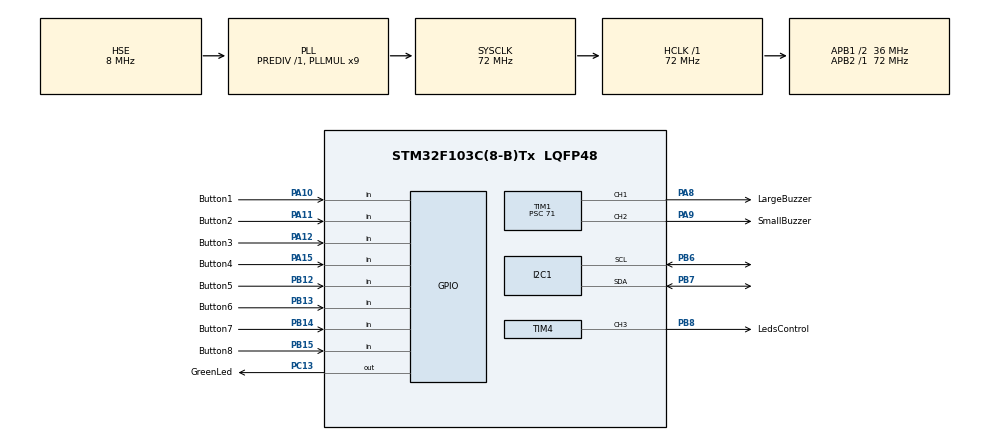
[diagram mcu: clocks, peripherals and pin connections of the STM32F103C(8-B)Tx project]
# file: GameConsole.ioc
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Dma.Request0=TIM4_CH3
Dma.TIM4_CH3.0.Direction=DMA_MEMORY_TO_PERIPH
Dma.TIM4_CH3.0.Instance=DMA1_Channel5
Dma.TIM4_CH3.0.MemDataAlignment=DMA_MDATAALIGN_HALFWORD
Dma.TIM4_CH3.0.MemInc=DMA_MINC_ENABLE
Dma.TIM4_CH3.0.Mode=DMA_NORMAL
Dma.TIM4_CH3.0.PeriphDataAlignment=DMA_PDATAALIGN_HALFWORD
Dma.TIM4_CH3.0.PeriphInc=DMA_PINC_DISABLE
Dma.TIM4_CH3.0.Priority=DMA_PRIORITY_LOW
Mcu.Family=STM32F1
Mcu.Name=STM32F103C(8-B)Tx
Mcu.Package=LQFP48
NVIC.DMA1_Channel5_IRQn=true\:0\:0\:false\:false\:true\:false\:true\:true
NVIC.PriorityGroup=NVIC_PRIORITYGROUP_4
NVIC.TIM2_IRQn=true\:0\:0\:false\:false\:true\:true\:true\:true
NVIC.TIM3_IRQn=true\:15\:0\:false\:false\:true\:false\:true\:true
NVIC.TIM4_IRQn=true\:0\:0\:false\:false\:true\:true\:true\:true
NVIC.TimeBase=TIM3_IRQn
NVIC.TimeBaseIP=TIM3
PA10.GPIO_Label=Button1
PA10.GPIO_PuPd=GPIO_PULLUP
PA10.Signal=GPIO_Input
PA11.GPIO_Label=Button2
PA11.GPIO_PuPd=GPIO_PULLUP
PA11.Signal=GPIO_Input
PA12.GPIO_Label=Button3
PA12.GPIO_PuPd=GPIO_PULLUP
PA12.Signal=GPIO_Input
PA13.Mode=Serial_Wire
PA13.Signal=SYS_JTMS-SWDIO
PA14.Mode=Serial_Wire
PA14.Signal=SYS_JTCK-SWCLK
PA15.GPIO_Label=Button4
PA15.GPIO_PuPd=GPIO_PULLUP
PA15.Signal=GPIO_Input
PA8.GPIO_Label=LargeBuzzer
PA8.GPIO_Speed=GPIO_SPEED_FREQ_HIGH
PA8.Signal=S_TIM1_CH1
PA9.GPIO_Label=SmallBuzzer
PA9.GPIO_Speed=GPIO_SPEED_FREQ_HIGH
PA9.Signal=S_TIM1_CH2
PB12.GPIO_Label=Button5
PB12.GPIO_PuPd=GPIO_PULLUP
PB12.Signal=GPIO_Input
PB13.GPIO_Label=Button6
PB13.GPIO_PuPd=GPIO_PULLUP
PB13.Signal=GPIO_Input
PB14.GPIO_Label=Button7
PB14.GPIO_PuPd=GPIO_PULLUP
PB14.Signal=GPIO_Input
PB15.GPIO_Label=Button8
PB15.GPIO_PuPd=GPIO_PULLUP
PB15.Signal=GPIO_Input
PB6.Mode=I2C
PB6.Signal=I2C1_SCL
PB7.Mode=I2C
PB7.Signal=I2C1_SDA
PB8.GPIO_Label=LedsControl
PB8.GPIO_Speed=GPIO_SPEED_FREQ_HIGH
PB8.Signal=S_TIM4_CH3
PC13-TAMPER-RTC.GPIO_Label=GreenLed
PC13-TAMPER-RTC.GPIO_Speed=GPIO_SPEED_FREQ_HIGH
PC13-TAMPER-RTC.Signal=GPIO_Output
PD0-OSC_IN.Mode=HSE-External-Oscillator
PD0-OSC_IN.Signal=RCC_OSC_IN
PD1-OSC_OUT.Mode=HSE-External-Oscillator
PD1-OSC_OUT.Signal=RCC_OSC_OUT
ProjectManager.HeapSize=0x200
ProjectManager.StackSize=0x400
ProjectManager.TargetToolchain=STM32CubeIDE
RCC.AHBFreq_Value=72000000
RCC.APB1CLKDivider=RCC_HCLK_DIV2
RCC.APB1Freq_Value=36000000
RCC.APB1TimFreq_Value=72000000
RCC.APB2Freq_Value=72000000
RCC.APB2TimFreq_Value=72000000
RCC.HCLKFreq_Value=72000000
RCC.PLLMUL=RCC_PLL_MUL9
RCC.PLLSourceVirtual=RCC_PLLSOURCE_HSE
RCC.SYSCLKFreq_VALUE=72000000
RCC.SYSCLKSource=RCC_SYSCLKSOURCE_PLLCLK
RCC.USBFreq_Value=72000000
SH.S_TIM1_CH1.0=TIM1_CH1,PWM Generation1 CH1
SH.S_TIM1_CH2.0=TIM1_CH2,PWM Generation2 CH2
SH.S_TIM4_CH3.0=TIM4_CH3,PWM Generation3 CH3
TIM1.AutoReloadPreload=TIM_AUTORELOAD_PRELOAD_ENABLE
TIM1.Channel-PWM\ Generation1\ CH1=TIM_CHANNEL_1
TIM1.Channel-PWM\ Generation2\ CH2=TIM_CHANNEL_2
TIM1.Prescaler=71
TIM2.Period=99
TIM2.Prescaler=71
TIM4.Channel-PWM\ Generation3\ CH3=TIM_CHANNEL_3
TIM4.Period=89
VP_SYS_VS_tim3.Mode=TIM3
VP_TIM1_VS_ClockSourceINT.Mode=Internal
VP_TIM2_VS_ClockSourceINT.Mode=Internal
VP_TIM4_VS_ClockSourceINT.Mode=Internal
board=custom

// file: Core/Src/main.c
/* USER CODE BEGIN Header */
/**
  ******************************************************************************
  * @file           : main.c
  * @brief          : Main program body
  ******************************************************************************
  * @attention
  *
  * Copyright (c) 2026 STMicroelectronics.
  * All rights reserved.
  *
  * This software is licensed under terms that can be found in the LICENSE file
  * in the root directory of this software component.
  * If no LICENSE file comes with this software, it is provided AS-IS.
  *
  ******************************************************************************
  */
/* USER CODE END Header */
#include "main.h"
#include "dma.h"
#include "i2c.h"
#include "tim.h"
#include "gpio.h"

/* USER CODE BEGIN Includes */
#include "FreeRTOS.h"
#include "task.h"

#include "ButtonsDriver.h"
#include "BuzzersDriver.h"
#include "CommonFreeRTOS.h"
#include "Hardware.h"
#include "InterruptsPriorities.h"
#include "Lcd1602Driver.h"
#include "LedsDriver.h"
#include "LedsEffects.h"
#include "SyncPeriphery.h"
#include "UserTimer.h"
/* USER CODE END Includes */

void SystemClock_Config(void);

int main(void)
{

  /* MCU Configuration--------------------------------------------------------*/

  /* Reset of all peripherals, Initializes the Flash interface and the Systick. */
  HAL_Init();

  /* Configure the system clock */
  SystemClock_Config();

  /* Initialize all configured peripherals */
  MX_GPIO_Init();
  MX_DMA_Init();
  MX_TIM2_Init();
  MX_TIM4_Init();
  MX_TIM1_Init();
  MX_I2C1_Init();
  /* USER CODE BEGIN 2 */

  // Установка приоритетов прерываний
  // для корректной работы FreeRTOS
  InterruptsPriorities_SetPriorities();

  // Запуск таймера для отсчета временных интервалов
  HAL_TIM_Base_Start_IT(&TIM_INTERVAL_HTIM);

  // Инициализизация драйвера светодиодов WS2812B
  LedsDriver_Init();

  // Инициализация модуля световых эффектов
  LedsEffects_Init();

  // Инициализация драйвера зуммеров
  BuzzersDriver_Init();

  // Инициализация драйвера кнопок
  ButtonsDriver_Init();

  // Инициализация модуля синхронных откликов
  SyncPeriphery_Init();

  // Инициализация драйвера LCD1602
  if (Lcd1602Driver_Init() != LCD1602_OK)
  {
      while (1)
      {
          // Критическая ошибка. Не удалось инициализировать LCD1602
      }
  }

  // Статус создания задач FreeRTOS
  BaseType_t taskCreationResult = CommonFreeRTOS_CreateTasks();

  // Если любая задача FreeRTOS не создана
  if (pdFALSE == taskCreationResult)
  {
	  while (1)
	  {
		  // Критическая ошибка. Ошибка создания задач FreeRTOS
	  }
  }

  // Запуск планировщика задач
  vTaskStartScheduler();

  /* USER CODE END 2 */

  /* Infinite loop */
  while (1)
  {

  }
}

void SystemClock_Config(void)
{
  RCC_OscInitTypeDef RCC_OscInitStruct = {0};
  RCC_ClkInitTypeDef RCC_ClkInitStruct = {0};

  /** Initializes the RCC Oscillators according to the specified parameters
  * in the RCC_OscInitTypeDef structure.
  */
  RCC_OscInitStruct.OscillatorType = RCC_OSCILLATORTYPE_HSE;
  RCC_OscInitStruct.HSEState = RCC_HSE_ON;
  RCC_OscInitStruct.HSEPredivValue = RCC_HSE_PREDIV_DIV1;
  RCC_OscInitStruct.HSIState = RCC_HSI_ON;
  RCC_OscInitStruct.PLL.PLLState = RCC_PLL_ON;
  RCC_OscInitStruct.PLL.PLLSource = RCC_PLLSOURCE_HSE;
  RCC_OscInitStruct.PLL.PLLMUL = RCC_PLL_MUL9;
  if (HAL_RCC_OscConfig(&RCC_OscInitStruct) != HAL_OK)
  {
    Error_Handler();
  }

  /** Initializes the CPU, AHB and APB buses clocks
  */
  RCC_ClkInitStruct.ClockType = RCC_CLOCKTYPE_HCLK|RCC_CLOCKTYPE_SYSCLK
                              |RCC_CLOCKTYPE_PCLK1|RCC_CLOCKTYPE_PCLK2;
  RCC_ClkInitStruct.SYSCLKSource = RCC_SYSCLKSOURCE_PLLCLK;
  RCC_ClkInitStruct.AHBCLKDivider = RCC_SYSCLK_DIV1;
  RCC_ClkInitStruct.APB1CLKDivider = RCC_HCLK_DIV2;
  RCC_ClkInitStruct.APB2CLKDivider = RCC_HCLK_DIV1;

  if (HAL_RCC_ClockConfig(&RCC_ClkInitStruct, FLASH_LATENCY_2) != HAL_OK)
  {
    Error_Handler();
  }
}

void HAL_TIM_PeriodElapsedCallback(TIM_HandleTypeDef *htim)
{
  /* USER CODE BEGIN Callback 0 */

  if (TIM_INTERVAL == htim->Instance)
  {
	// Инкремент счётчика времени работы программы
	UserTimer_IncrementTimeCounter();

    // Обработка нажатий на кнопку
	ButtonsDriver_ProcessTick();

    // Обработка тиков зуммеров
    BuzzersDriver_ProcessTick();
  }

  /* USER CODE END Callback 0 */
  if (htim->Instance == TIM3) {
    HAL_IncTick();
  }
}

void Error_Handler(void)
{
  __disable_irq();
  while (1)
  {
  }
}
